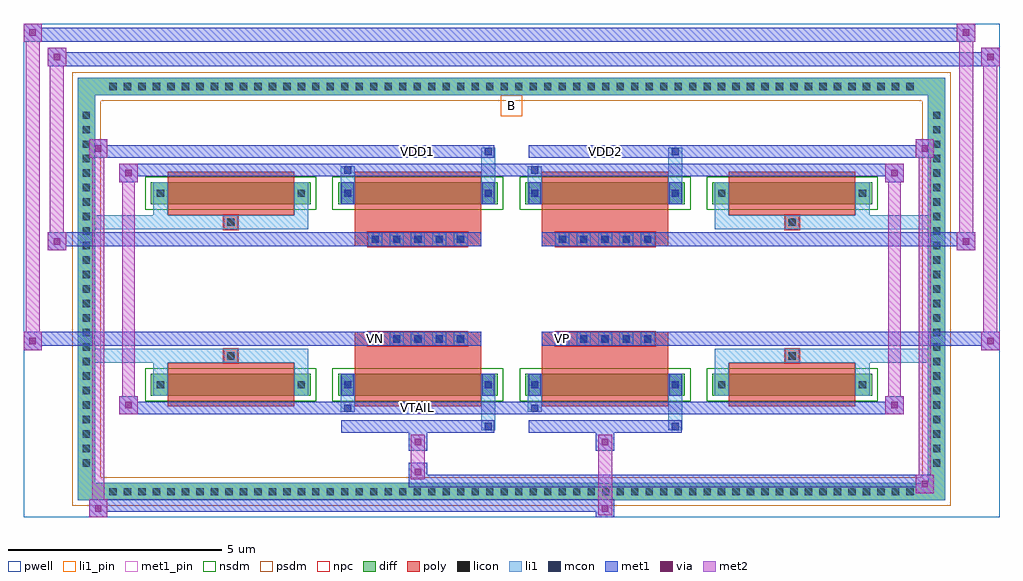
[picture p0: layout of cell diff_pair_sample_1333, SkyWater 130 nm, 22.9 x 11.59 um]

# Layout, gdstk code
import gdstk
lib = gdstk.Library(unit=1e-6, precision=5e-09)
def R(c, l, rs):  # rectangles x0, y0, x1, y1
    for r in rs: c.add(gdstk.rectangle(r[:2], r[2:], *l))
def A(c, l, x, y, w, h, nx, ny, dx, dy):  # array of equal rectangles
    R(c, l, [(x+i*dx, y+j*dy, x+i*dx+w, y+j*dy+h) for i in range(nx) for j in range(ny)])
def P(c, l, *ps):  # polygons
    for p in ps: c.add(gdstk.Polygon(p, *l))
pwell = (64, 44)
diff = (65, 20)
poly = (66, 20)
licon = (66, 44)
li1_pin = (67, 16)
li1 = (67, 20)
mcon = (67, 44)
met1_pin = (68, 16)
met1 = (68, 20)
via = (68, 44)
met2 = (69, 20)
nsdm = (93, 44)
psdm = (94, 20)
npc = (95, 20)

diff_pair_sample_1333 = lib.new_cell('diff_pair_sample_1333')
R(diff_pair_sample_1333, pwell, [(-11.45,-5.36,11.45,6.23), (-8.77,-3.55,-0.01,-0.805), (0.01,-3.55,8.77,-0.805), (-8.77,0.805,-0.01,3.55), (0.01,0.805,8.77,3.55)])
A(diff_pair_sample_1333, diff, -9.555, -4.96, 0.41, 0.41, 56, 2, 0.34, 9.51)
A(diff_pair_sample_1333, diff, -10.18, -4.285, 0.41, 0.41, 1, 25, 0, 0.34)
A(diff_pair_sample_1333, diff, 9.77, -4.285, 0.41, 0.41, 1, 25, 0, 0.34)
A(diff_pair_sample_1333, diff, -8.46, -2.505, 3.75, 0.52, 4, 2, 4.39, 4.49)
R(diff_pair_sample_1333, diff, [(-9.555,-4.96,9.555,-4.55), (-10.18,-4.285,-9.77,4.285), (9.77,-4.285,10.18,4.285), (-9.555,4.55,9.555,4.96)])
P(diff_pair_sample_1333, diff, [(10.18,4.96),(-10.18,4.96),(-10.18,-4.55),(-9.77,-4.55),(-9.77,4.55),(9.77,4.55),(9.77,-4.55),(-9.77,-4.55),(-10.18,-4.55),(-10.18,-4.96),(10.18,-4.96)])
A(diff_pair_sample_1333, poly, -8.07, -2.755, 2.97, 1.02, 4, 2, 4.39, 4.49)
A(diff_pair_sample_1333, poly, -3.36, -1.335, 0.33, 0.33, 5, 2, 0.5, 2.34)
A(diff_pair_sample_1333, poly, 1.03, -1.335, 0.33, 0.33, 5, 2, 0.5, 2.34)
R(diff_pair_sample_1333, poly, [(-6.75,-1.735,-6.42,-1.405), (-6.75,-1.735,-6.42,-1.405), (-3.68,-1.735,-0.71,-1.335), (0.71,-1.735,3.68,-1.335), (6.42,-1.735,6.75,-1.405), (6.42,-1.735,6.75,-1.405), (-3.68,-1.335,-0.71,-1.005), (0.71,-1.335,3.68,-1.005), (-3.68,1.005,-0.71,1.335), (0.71,1.005,3.68,1.335), (-3.68,1.335,-0.71,1.735), (0.71,1.335,3.68,1.735), (-6.75,1.405,-6.42,1.735), (-6.75,1.405,-6.42,1.735), (6.42,1.405,6.75,1.735), (6.42,1.405,6.75,1.735)])
A(diff_pair_sample_1333, licon, -9.435, -4.84, 0.17, 0.17, 56, 2, 0.34, 9.51)
A(diff_pair_sample_1333, licon, -10.06, -4.165, 0.17, 0.17, 1, 25, 0, 0.34)
A(diff_pair_sample_1333, licon, 9.89, -4.165, 0.17, 0.17, 1, 25, 0, 0.34)
A(diff_pair_sample_1333, licon, -3.28, -1.255, 0.17, 0.17, 5, 2, 0.5, 2.34)
A(diff_pair_sample_1333, licon, 1.11, -1.255, 0.17, 0.17, 5, 2, 0.5, 2.34)
R(diff_pair_sample_1333, licon, [(-8.32,-2.33,-8.15,-2.16), (-5.02,-2.33,-4.85,-2.16), (-3.93,-2.33,-3.76,-2.16), (-0.63,-2.33,-0.46,-2.16), (0.46,-2.33,0.63,-2.16), (3.76,-2.33,3.93,-2.16), (4.85,-2.33,5.02,-2.16), (8.15,-2.33,8.32,-2.16), (-6.67,-1.655,-6.5,-1.485), (6.5,-1.655,6.67,-1.485), (-6.67,1.485,-6.5,1.655), (6.5,1.485,6.67,1.655), (-8.32,2.16,-8.15,2.33), (-5.02,2.16,-4.85,2.33), (-3.93,2.16,-3.76,2.33), (-0.63,2.16,-0.46,2.33), (0.46,2.16,0.63,2.33), (3.76,2.16,3.93,2.33), (4.85,2.16,5.02,2.33), (8.15,2.16,8.32,2.33)])
R(diff_pair_sample_1333, li1_pin, [(-0.25,4.05,0.25,4.55)])
A(diff_pair_sample_1333, li1, -9.515, -4.92, 0.33, 0.33, 56, 2, 0.34, 9.51)
A(diff_pair_sample_1333, li1, -10.14, -4.245, 0.33, 0.33, 1, 25, 0, 0.34)
A(diff_pair_sample_1333, li1, 9.81, -4.245, 0.33, 0.33, 1, 25, 0, 0.34)
A(diff_pair_sample_1333, li1, -3.36, -1.335, 0.33, 0.33, 5, 2, 0.5, 2.34)
A(diff_pair_sample_1333, li1, 1.03, -1.335, 0.33, 0.33, 5, 2, 0.5, 2.34)
R(diff_pair_sample_1333, li1, [(-10.18,-4.96,-9.77,-4.55), (-10.18,-4.96,-9.77,-4.55), (-9.77,-4.96,9.77,-4.55), (9.77,-4.96,10.18,-4.55), (9.77,-4.96,10.18,-4.55), (-10.18,-4.55,-9.77,4.55), (9.77,-4.55,10.18,4.55), (-0.71,-3.31,-0.38,-2.505), (-0.63,-3.31,-0.46,-3.14), (3.68,-3.31,4.01,-2.505), (3.76,-3.31,3.93,-3.14), (-4.01,-2.88,-3.68,-2.505), (-3.93,-2.88,-3.76,-2.71), (0.38,-2.88,0.71,-2.505), (0.46,-2.88,0.63,-2.71), (-8.4,-2.505,-8.07,-1.985), (-5.1,-2.505,-4.77,-1.985), (-4.01,-2.505,-3.68,-1.985), (-0.71,-2.505,-0.38,-1.985), (0.38,-2.505,0.71,-1.985), (3.68,-2.505,4.01,-1.985), (4.77,-2.505,5.1,-1.985), (8.07,-2.505,8.4,-1.985), (-8.4,-2.41,-8.07,-2.08), (-5.1,-2.41,-4.77,-2.08), (-4.01,-2.41,-3.68,-2.08), (-0.71,-2.41,-0.38,-2.08), (0.38,-2.41,0.71,-2.08), (3.68,-2.41,4.01,-2.08), (4.77,-2.41,5.1,-2.08), (8.07,-2.41,8.4,-2.08), (-3.93,-2.33,-3.76,-2.16), (-3.93,-2.33,-3.76,-2.16), (-0.63,-2.33,-0.46,-2.16), (-0.63,-2.33,-0.46,-2.16), (0.46,-2.33,0.63,-2.16), (0.46,-2.33,0.63,-2.16), (3.76,-2.33,3.93,-2.16), (3.76,-2.33,3.93,-2.16), (-8.4,-1.985,-8.07,-1.405), (-5.1,-1.985,-4.77,-1.405), (4.77,-1.985,5.1,-1.405), (8.07,-1.985,8.4,-1.405), (-10.18,-1.735,-6.75,-1.405), (-8.4,-1.735,-6.75,-1.405), (-6.75,-1.735,-6.42,-1.405), (-6.42,-1.735,-4.77,-1.405), (4.77,-1.735,6.42,-1.405), (6.42,-1.735,6.75,-1.405), (6.42,-1.735,10.18,-1.405), (6.75,-1.735,8.4,-1.405), (-10.18,1.405,-6.75,1.735), (-8.4,1.405,-6.75,1.735), (-8.4,1.405,-8.07,1.985), (-6.75,1.405,-6.42,1.735), (-6.42,1.405,-4.77,1.735), (-5.1,1.405,-4.77,1.985), (4.77,1.405,6.42,1.735), (4.77,1.405,5.1,1.985), (6.42,1.405,6.75,1.735), (6.42,1.405,10.18,1.735), (6.75,1.405,8.4,1.735), (8.07,1.405,8.4,1.985), (-8.4,1.985,-8.07,2.505), (-5.1,1.985,-4.77,2.505), (-4.01,1.985,-3.68,2.505), (-0.71,1.985,-0.38,2.505), (0.38,1.985,0.71,2.505), (3.68,1.985,4.01,2.505), (4.77,1.985,5.1,2.505), (8.07,1.985,8.4,2.505), (-8.4,2.08,-8.07,2.41), (-5.1,2.08,-4.77,2.41), (-4.01,2.08,-3.68,2.41), (-0.71,2.08,-0.38,2.41), (0.38,2.08,0.71,2.41), (3.68,2.08,4.01,2.41), (4.77,2.08,5.1,2.41), (8.07,2.08,8.4,2.41), (-3.93,2.16,-3.76,2.33), (-3.93,2.16,-3.76,2.33), (-0.63,2.16,-0.46,2.33), (-0.63,2.16,-0.46,2.33), (0.46,2.16,0.63,2.33), (0.46,2.16,0.63,2.33), (3.76,2.16,3.93,2.33), (3.76,2.16,3.93,2.33), (-4.01,2.505,-3.68,2.88), (-0.71,2.505,-0.38,3.31), (0.38,2.505,0.71,2.88), (3.68,2.505,4.01,3.31), (-3.93,2.71,-3.76,2.88), (0.46,2.71,0.63,2.88), (-0.63,3.14,-0.46,3.31), (3.76,3.14,3.93,3.31), (-10.18,4.55,-9.77,4.96), (-10.18,4.55,-9.77,4.96), (-9.77,4.55,9.77,4.96), (9.77,4.55,10.18,4.96), (9.77,4.55,10.18,4.96)])
A(diff_pair_sample_1333, mcon, -3.28, -1.255, 0.17, 0.17, 5, 2, 0.5, 2.34)
A(diff_pair_sample_1333, mcon, 1.11, -1.255, 0.17, 0.17, 5, 2, 0.5, 2.34)
R(diff_pair_sample_1333, mcon, [(-0.63,-3.31,-0.46,-3.14), (3.76,-3.31,3.93,-3.14), (-3.93,-2.88,-3.76,-2.71), (0.46,-2.88,0.63,-2.71), (-3.93,-2.33,-3.76,-2.16), (-0.63,-2.33,-0.46,-2.16), (0.46,-2.33,0.63,-2.16), (3.76,-2.33,3.93,-2.16), (-3.93,2.16,-3.76,2.33), (-0.63,2.16,-0.46,2.33), (0.46,2.16,0.63,2.33), (3.76,2.16,3.93,2.33), (-3.93,2.71,-3.76,2.88), (0.46,2.71,0.63,2.88), (-0.63,3.14,-0.46,3.31), (3.76,3.14,3.93,3.31)])
R(diff_pair_sample_1333, met1_pin, [(-2.33,-2.92,-2.06,-2.65), (-3.33,-1.295,-3.06,-1.025), (1.06,-1.295,1.33,-1.025), (-2.33,3.1,-2.06,3.37), (2.06,3.1,2.33,3.37)])
A(diff_pair_sample_1333, met1, -3.34, -1.315, 0.29, 0.29, 5, 2, 0.5, 2.34)
A(diff_pair_sample_1333, met1, 1.05, -1.315, 0.29, 0.29, 5, 2, 0.5, 2.34)
R(diff_pair_sample_1333, met1, [(-9.91,-5.36,-9.48,-4.93), (1.98,-5.36,2.41,-4.93), (-9.91,-5.22,2.41,-4.93), (9.48,-4.79,9.91,-4.36), (-2.41,-4.65,9.91,-4.36), (-2.41,-4.51,-1.98,-4.08), (-2.41,-3.8,-1.98,-3.37), (1.98,-3.8,2.41,-3.37), (-3.99,-3.37,-0.4,-3.08), (-0.69,-3.37,-0.4,-3.08), (0.4,-3.37,3.99,-3.08), (3.7,-3.37,3.99,-3.08), (-9.2,-2.94,-8.77,-2.51), (-9.2,-2.94,-3.99,-2.65), (-3.99,-2.94,-3.7,-2.65), (-3.99,-2.94,-0.4,-2.65), (-0.4,-2.94,0.4,-2.65), (0.4,-2.94,0.69,-2.65), (0.4,-2.94,3.99,-2.65), (3.99,-2.94,9.2,-2.65), (8.77,-2.94,9.2,-2.51), (-3.99,-2.505,-3.7,-1.985), (-0.69,-2.505,-0.4,-1.985), (0.4,-2.505,0.69,-1.985), (3.7,-2.505,3.99,-1.985), (-3.99,-2.39,-3.7,-2.1), (-0.69,-2.39,-0.4,-2.1), (0.4,-2.39,0.69,-2.1), (3.7,-2.39,3.99,-2.1), (-11.45,-1.435,-11.02,-1.005), (11.02,-1.435,11.45,-1.005), (-11.45,-1.335,-0.71,-1.005), (-3.68,-1.335,-0.71,-1.005), (0.71,-1.335,3.68,-1.005), (0.71,-1.335,11.45,-1.005), (-10.88,0.905,-10.45,1.335), (10.45,0.905,10.88,1.335), (-10.88,1.005,-3.68,1.335), (-3.68,1.005,-0.71,1.335), (0.71,1.005,3.68,1.335), (3.68,1.005,10.88,1.335), (-3.99,1.985,-3.7,2.505), (-0.69,1.985,-0.4,2.505), (0.4,1.985,0.69,2.505), (3.7,1.985,3.99,2.505), (-3.99,2.1,-3.7,2.39), (-0.69,2.1,-0.4,2.39), (0.4,2.1,0.69,2.39), (3.7,2.1,3.99,2.39), (-9.2,2.51,-8.77,2.94), (8.77,2.51,9.2,2.94), (-9.2,2.65,-3.99,2.94), (-3.99,2.65,-3.7,2.94), (-3.99,2.65,-0.4,2.94), (-0.4,2.65,0.4,2.94), (0.4,2.65,0.69,2.94), (0.4,2.65,3.99,2.94), (3.99,2.65,9.2,2.94), (-9.91,3.08,-9.48,3.51), (-9.91,3.08,-3.99,3.37), (-3.99,3.08,-0.4,3.37), (-0.69,3.08,-0.4,3.37), (0.4,3.08,3.99,3.37), (3.7,3.08,3.99,3.37), (3.99,3.08,9.91,3.37), (9.48,3.08,9.91,3.51), (-10.88,5.23,-10.45,5.66), (-10.88,5.23,-8.77,5.56), (-8.77,5.23,8.77,5.56), (8.77,5.23,11.45,5.56), (11.02,5.23,11.45,5.66), (-11.45,5.8,-11.02,6.23), (-11.45,5.8,-8.77,6.13), (-8.77,5.8,8.77,6.13), (8.77,5.8,10.88,6.13), (10.45,5.8,10.88,6.23)])
R(diff_pair_sample_1333, via, [(-9.77,-5.22,-9.62,-5.07), (2.12,-5.22,2.27,-5.07), (9.62,-4.65,9.77,-4.5), (-2.27,-4.37,-2.12,-4.22), (-2.27,-3.66,-2.12,-3.51), (2.12,-3.66,2.27,-3.51), (-9.06,-2.8,-8.91,-2.65), (8.91,-2.8,9.06,-2.65), (-11.31,-1.295,-11.16,-1.145), (11.16,-1.295,11.31,-1.145), (-10.74,1.045,-10.59,1.195), (10.59,1.045,10.74,1.195), (-9.06,2.65,-8.91,2.8), (8.91,2.65,9.06,2.8), (-9.77,3.22,-9.62,3.37), (9.62,3.22,9.77,3.37), (-10.74,5.37,-10.59,5.52), (11.16,5.37,11.31,5.52), (-11.31,5.94,-11.16,6.09), (10.59,5.94,10.74,6.09)])
R(diff_pair_sample_1333, met2, [(-9.91,-5.36,-9.48,-4.93), (-9.84,-5.36,-9.55,3.51), (-9.55,-5.36,-9.48,-4.93), (-9.86,-5.31,-9.53,-4.98), (2.03,-5.31,2.36,-4.98), (2.03,-4.98,2.36,-3.75), (9.48,-4.79,9.91,-4.36), (9.55,-4.79,9.84,3.51), (9.84,-4.79,9.91,-4.36), (9.53,-4.74,9.86,-4.41), (-2.36,-4.46,-2.03,-4.13), (-2.36,-4.13,-2.03,-3.75), (-2.36,-3.75,-2.03,-3.42), (2.03,-3.75,2.36,-3.42), (-9.2,-2.94,-8.77,-2.51), (-9.13,-2.94,-8.84,2.94), (-8.84,-2.94,-8.77,-2.51), (8.77,-2.94,9.2,-2.51), (8.84,-2.94,9.13,2.94), (9.13,-2.94,9.2,-2.51), (-9.15,-2.89,-8.82,-2.56), (8.82,-2.89,9.15,-2.56), (-11.45,-1.435,-11.02,-1.005), (-11.4,-1.435,-11.07,6.23), (-11.07,-1.435,-11.02,-1.005), (11.02,-1.435,11.45,-1.005), (11.07,-1.435,11.4,5.66), (11.4,-1.435,11.45,-1.005), (-11.4,-1.385,-11.07,-1.055), (11.07,-1.385,11.4,-1.055), (-10.88,0.905,-10.45,1.335), (-10.83,0.905,-10.5,5.66), (-10.5,0.905,-10.45,1.335), (10.45,0.905,10.88,1.335), (10.5,0.905,10.83,6.23), (10.83,0.905,10.88,1.335), (-10.83,0.955,-10.5,1.285), (10.5,0.955,10.83,1.285), (-9.2,2.51,-8.77,2.94), (-8.84,2.51,-8.77,2.94), (8.77,2.51,9.2,2.94), (9.13,2.51,9.2,2.94), (-9.15,2.56,-8.82,2.89), (8.82,2.56,9.15,2.89), (-9.91,3.08,-9.48,3.51), (-9.55,3.08,-9.48,3.51), (9.48,3.08,9.91,3.51), (9.84,3.08,9.91,3.51), (-9.86,3.13,-9.53,3.46), (9.53,3.13,9.86,3.46), (-10.88,5.23,-10.45,5.66), (-10.5,5.23,-10.45,5.66), (11.02,5.23,11.45,5.66), (11.4,5.23,11.45,5.66), (-10.83,5.28,-10.5,5.61), (11.07,5.28,11.4,5.61), (-11.45,5.8,-11.02,6.23), (-11.07,5.8,-11.02,6.23), (10.45,5.8,10.88,6.23), (10.83,5.8,10.88,6.23), (-11.4,5.85,-11.07,6.18), (10.5,5.85,10.83,6.18)])
A(diff_pair_sample_1333, nsdm, -8.59, -2.635, 4.01, 0.78, 4, 2, 4.39, 4.49)
P(diff_pair_sample_1333, psdm, [(10.31,5.09),(-10.31,5.09),(-10.31,-4.42),(-9.64,-4.42),(-9.64,4.42),(9.64,4.42),(9.64,-4.42),(-9.64,-4.42),(-10.31,-4.42),(-10.31,-5.09),(10.31,-5.09)])
A(diff_pair_sample_1333, npc, -3.38, -1.355, 0.37, 0.37, 5, 2, 0.5, 2.34)
A(diff_pair_sample_1333, npc, 1.01, -1.355, 0.37, 0.37, 5, 2, 0.5, 2.34)
R(diff_pair_sample_1333, npc, [(-6.77,-1.755,-6.4,-1.385), (6.4,-1.755,6.77,-1.385), (-3.38,-1.355,-2.51,-0.985), (-3.38,-1.355,-2.51,-0.985), (-2.88,-1.355,-2.01,-0.985), (-2.88,-1.355,-2.01,-0.985), (-2.38,-1.355,-1.51,-0.985), (-2.38,-1.355,-1.51,-0.985), (-1.88,-1.355,-1.01,-0.985), (-1.88,-1.355,-1.01,-0.985), (1.01,-1.355,1.88,-0.985), (1.01,-1.355,1.88,-0.985), (1.51,-1.355,2.38,-0.985), (1.51,-1.355,2.38,-0.985), (2.01,-1.355,2.88,-0.985), (2.01,-1.355,2.88,-0.985), (2.51,-1.355,3.38,-0.985), (2.51,-1.355,3.38,-0.985), (-3.38,0.985,-2.51,1.355), (-3.38,0.985,-2.51,1.355), (-2.88,0.985,-2.01,1.355), (-2.88,0.985,-2.01,1.355), (-2.38,0.985,-1.51,1.355), (-2.38,0.985,-1.51,1.355), (-1.88,0.985,-1.01,1.355), (-1.88,0.985,-1.01,1.355), (1.01,0.985,1.88,1.355), (1.01,0.985,1.88,1.355), (1.51,0.985,2.38,1.355), (1.51,0.985,2.38,1.355), (2.01,0.985,2.88,1.355), (2.01,0.985,2.88,1.355), (2.51,0.985,3.38,1.355), (2.51,0.985,3.38,1.355), (-6.77,1.385,-6.4,1.755), (6.4,1.385,6.77,1.755)])
diff_pair_sample_1333.add(gdstk.Label('VTAIL', (-2.195,-2.785), layer=68, texttype=5))
diff_pair_sample_1333.add(gdstk.Label('VN', (-3.195,-1.16), layer=68, texttype=5))
diff_pair_sample_1333.add(gdstk.Label('VP', (1.195,-1.16), layer=68, texttype=5))
diff_pair_sample_1333.add(gdstk.Label('B', (0,4.3), layer=67, texttype=5))
diff_pair_sample_1333.add(gdstk.Label('VDD2', (2.195,3.235), layer=68, texttype=5))
diff_pair_sample_1333.add(gdstk.Label('VDD1', (-2.195,3.235), layer=68, texttype=5))

lib.write_gds('diff_pair_sample_1333.gds')
